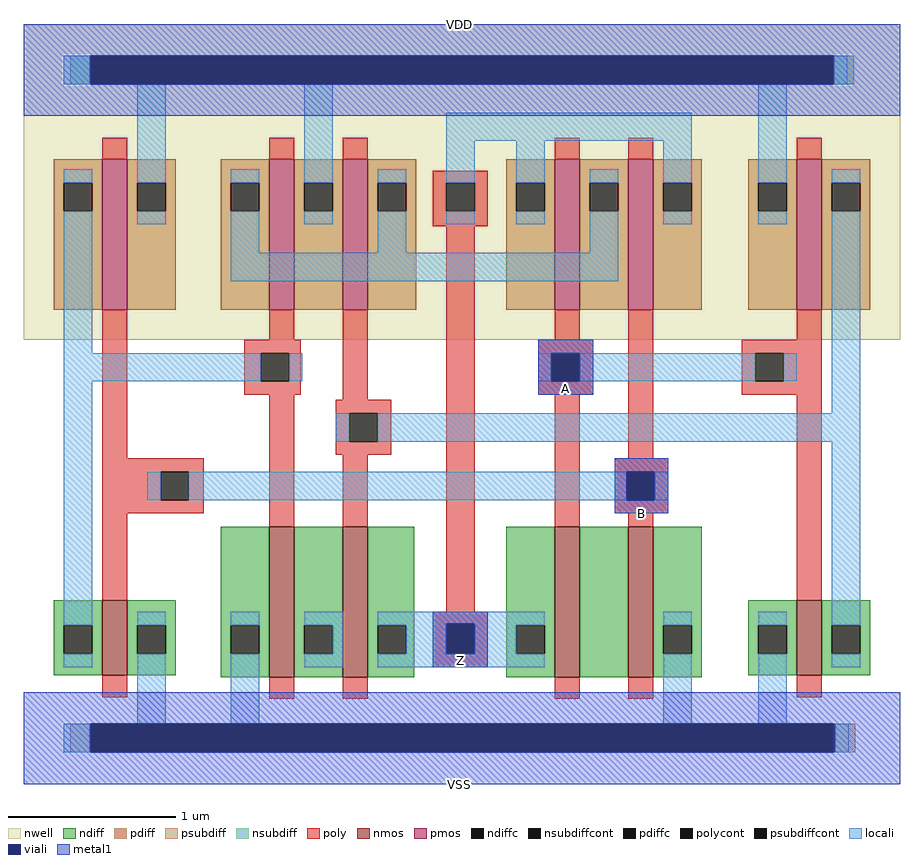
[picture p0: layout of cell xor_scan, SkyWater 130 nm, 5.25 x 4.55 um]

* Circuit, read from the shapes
.subckt xor_scan A B VDD VSS Z
XM1 VSS B n1 VSS sky130_fd_pr__nfet_01v8 w=0.45 l=0.15
XM2 n2 n1 VSS VSS sky130_fd_pr__nfet_01v8 w=0.9 l=0.15
XM3 Z n3 n2 VSS sky130_fd_pr__nfet_01v8 w=0.9 l=0.15
XM4 n4 A Z VSS sky130_fd_pr__nfet_01v8 w=0.9 l=0.15
XM5 VSS B n4 VSS sky130_fd_pr__nfet_01v8 w=0.9 l=0.15
XM6 n3 A VSS VSS sky130_fd_pr__nfet_01v8 w=0.45 l=0.15
XM7 VDD B n1 VDD sky130_fd_pr__pfet_01v8 w=0.9 l=0.15
XM8 VDD n1 n5 VDD sky130_fd_pr__pfet_01v8 w=0.9 l=0.15
XM9 n5 n3 VDD VDD sky130_fd_pr__pfet_01v8 w=0.9 l=0.15
XM10 n5 A Z VDD sky130_fd_pr__pfet_01v8 w=0.9 l=0.15
XM11 Z B n5 VDD sky130_fd_pr__pfet_01v8 w=0.9 l=0.15
XM12 n3 A VDD VDD sky130_fd_pr__pfet_01v8 w=0.9 l=0.15
.ends

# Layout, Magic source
magic
tech sky130A
magscale 1 2
<< nwell >>
rect 706 430 1756 808
<< nmos >>
rect 800 28 830 118
rect 1000 26 1030 206
rect 1088 26 1118 206
rect 1342 26 1372 206
rect 1430 26 1460 206
rect 1632 28 1662 118
<< pmos >>
rect 800 466 830 646
rect 1000 466 1030 646
rect 1088 466 1118 646
rect 1342 466 1372 646
rect 1430 466 1460 646
rect 1632 466 1662 646
<< ndiff >>
rect 742 88 800 118
rect 742 54 754 88
rect 788 54 800 88
rect 742 28 800 54
rect 830 88 888 118
rect 830 54 842 88
rect 876 54 888 88
rect 830 28 888 54
rect 942 88 1000 206
rect 942 54 954 88
rect 988 54 1000 88
rect 942 26 1000 54
rect 1030 88 1088 206
rect 1030 54 1042 88
rect 1076 54 1088 88
rect 1030 26 1088 54
rect 1118 88 1174 206
rect 1118 54 1130 88
rect 1164 54 1174 88
rect 1118 26 1174 54
rect 1284 88 1342 206
rect 1284 54 1296 88
rect 1330 54 1342 88
rect 1284 26 1342 54
rect 1372 26 1430 206
rect 1460 88 1518 206
rect 1460 54 1472 88
rect 1506 54 1518 88
rect 1460 26 1518 54
rect 1574 88 1632 118
rect 1574 54 1586 88
rect 1620 54 1632 88
rect 1574 28 1632 54
rect 1662 88 1720 118
rect 1662 54 1674 88
rect 1708 54 1720 88
rect 1662 28 1720 54
<< pdiff >>
rect 742 618 800 646
rect 742 584 754 618
rect 788 584 800 618
rect 742 466 800 584
rect 830 618 888 646
rect 830 584 842 618
rect 876 584 888 618
rect 830 466 888 584
rect 942 618 1000 646
rect 942 584 954 618
rect 988 584 1000 618
rect 942 466 1000 584
rect 1030 618 1088 646
rect 1030 584 1042 618
rect 1076 584 1088 618
rect 1030 466 1088 584
rect 1118 618 1176 646
rect 1118 584 1130 618
rect 1164 584 1176 618
rect 1118 466 1176 584
rect 1284 618 1342 646
rect 1284 584 1296 618
rect 1330 584 1342 618
rect 1284 466 1342 584
rect 1372 618 1430 646
rect 1372 584 1384 618
rect 1418 584 1430 618
rect 1372 466 1430 584
rect 1460 618 1518 646
rect 1460 584 1472 618
rect 1506 584 1518 618
rect 1460 466 1518 584
rect 1574 618 1632 646
rect 1574 584 1586 618
rect 1620 584 1632 618
rect 1574 466 1632 584
rect 1662 618 1720 646
rect 1662 584 1674 618
rect 1708 584 1720 618
rect 1662 466 1720 584
<< ndiffc >>
rect 754 54 788 88
rect 842 54 876 88
rect 954 54 988 88
rect 1042 54 1076 88
rect 1130 54 1164 88
rect 1296 54 1330 88
rect 1472 54 1506 88
rect 1586 54 1620 88
rect 1674 54 1708 88
<< pdiffc >>
rect 754 584 788 618
rect 842 584 876 618
rect 954 584 988 618
rect 1042 584 1076 618
rect 1130 584 1164 618
rect 1296 584 1330 618
rect 1384 584 1418 618
rect 1472 584 1506 618
rect 1586 584 1620 618
rect 1674 584 1708 618
<< psubdiff >>
rect 762 -64 786 -30
rect 1678 -64 1702 -30
<< nsubdiff >>
rect 762 736 786 770
rect 1676 736 1700 770
<< psubdiffcont >>
rect 786 -64 1678 -30
<< nsubdiffcont >>
rect 786 736 1676 770
<< poly >>
rect 800 646 830 672
rect 1000 646 1030 672
rect 1088 646 1118 672
rect 1342 646 1372 672
rect 1430 646 1460 672
rect 1632 646 1662 672
rect 1196 618 1262 632
rect 1196 584 1212 618
rect 1246 584 1262 618
rect 1196 566 1262 584
rect 800 288 830 466
rect 1000 430 1030 466
rect 970 414 1038 430
rect 970 380 990 414
rect 1024 380 1038 414
rect 970 364 1038 380
rect 800 272 922 288
rect 800 238 870 272
rect 904 238 922 272
rect 800 222 922 238
rect 800 118 830 222
rect 1000 206 1030 364
rect 1088 358 1118 466
rect 1080 342 1146 358
rect 1080 308 1096 342
rect 1130 308 1146 342
rect 1080 292 1146 308
rect 1088 206 1118 292
rect 800 2 830 28
rect 1212 104 1246 566
rect 1342 430 1372 466
rect 1322 414 1388 430
rect 1322 380 1338 414
rect 1372 380 1388 414
rect 1322 364 1388 380
rect 1342 206 1372 364
rect 1430 288 1460 466
rect 1632 430 1662 466
rect 1566 414 1662 430
rect 1566 380 1582 414
rect 1616 380 1662 414
rect 1566 364 1662 380
rect 1414 272 1478 288
rect 1414 238 1428 272
rect 1462 238 1478 272
rect 1414 222 1478 238
rect 1430 206 1460 222
rect 1196 90 1262 104
rect 1196 54 1212 90
rect 1246 54 1262 90
rect 1196 38 1262 54
rect 1632 118 1662 364
rect 1000 0 1030 26
rect 1088 0 1118 26
rect 1342 0 1372 26
rect 1430 0 1460 26
rect 1632 2 1662 28
<< polycont >>
rect 1212 584 1246 618
rect 990 380 1024 414
rect 870 238 904 272
rect 1096 308 1130 342
rect 1338 380 1372 414
rect 1582 380 1616 414
rect 1428 238 1462 272
rect 1212 54 1246 90
<< locali >>
rect 754 736 786 770
rect 1676 736 1692 770
rect 754 618 788 634
rect 754 414 788 584
rect 842 618 876 736
rect 842 568 876 584
rect 954 618 988 634
rect 954 534 988 584
rect 1042 618 1076 736
rect 1212 668 1506 702
rect 1042 568 1076 584
rect 1130 618 1164 634
rect 1130 534 1164 584
rect 1212 618 1246 668
rect 1212 568 1246 584
rect 1296 618 1330 668
rect 1296 568 1330 584
rect 1384 618 1418 634
rect 1384 534 1418 584
rect 1472 618 1506 668
rect 1472 568 1506 584
rect 1586 618 1620 736
rect 1586 568 1620 584
rect 1674 618 1708 634
rect 954 500 1418 534
rect 754 380 990 414
rect 1024 380 1040 414
rect 1322 380 1338 414
rect 1372 380 1582 414
rect 1616 380 1632 414
rect 754 88 788 380
rect 1674 342 1708 584
rect 1080 308 1096 342
rect 1130 308 1708 342
rect 854 238 870 272
rect 904 238 1428 272
rect 1462 238 1478 272
rect 754 38 788 54
rect 842 88 876 104
rect 842 -30 876 54
rect 954 88 988 104
rect 954 -30 988 54
rect 1042 88 1088 104
rect 1076 54 1088 88
rect 1042 38 1088 54
rect 1130 90 1330 104
rect 1130 88 1212 90
rect 1164 54 1212 88
rect 1246 88 1330 90
rect 1246 54 1296 88
rect 1130 38 1330 54
rect 1472 88 1506 104
rect 1472 -30 1506 54
rect 1586 88 1620 104
rect 1586 -30 1620 54
rect 1674 88 1708 308
rect 1674 38 1708 54
rect 754 -64 786 -30
rect 1678 -64 1694 -30
<< viali >>
rect 786 736 1676 770
rect 1338 380 1372 414
rect 1428 238 1462 272
rect 1212 54 1246 90
rect 786 -64 1676 -30
<< metal1 >>
rect 706 770 1756 808
rect 706 736 786 770
rect 1676 736 1756 770
rect 706 698 1756 736
rect 1322 414 1388 430
rect 1322 380 1338 414
rect 1372 380 1388 414
rect 1322 364 1388 380
rect 1414 272 1478 288
rect 1414 238 1428 272
rect 1462 238 1478 272
rect 1414 222 1478 238
rect 1196 90 1262 104
rect 1196 54 1212 90
rect 1246 54 1262 90
rect 1196 38 1262 54
rect 706 -30 1756 8
rect 706 -64 786 -30
rect 1676 -64 1756 -30
rect 706 -102 1756 -64
<< labels >>
rlabel metal1 1196 38 1262 54 5 Z
rlabel metal1 1228 808 1228 808 1 VDD
rlabel metal1 1228 -102 1228 -102 5 VSS
rlabel metal1 1446 222 1446 222 5 B
rlabel metal1 1322 364 1388 380 5 A
<< end >>
